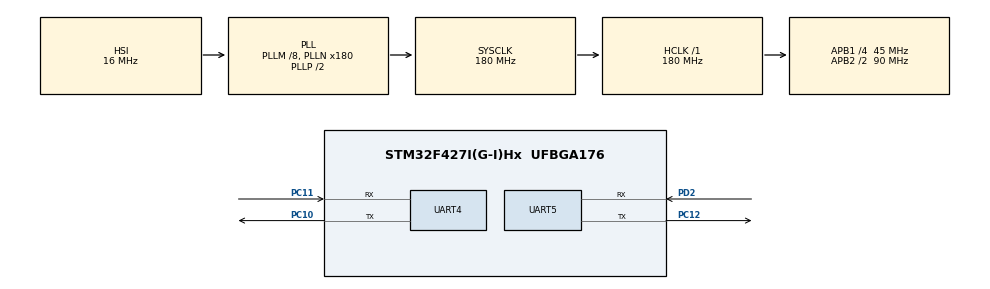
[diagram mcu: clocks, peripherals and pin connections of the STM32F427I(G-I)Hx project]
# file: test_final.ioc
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Mcu.Family=STM32F4
Mcu.Name=STM32F427I(G-I)Hx
Mcu.Package=UFBGA176
NVIC.PriorityGroup=NVIC_PRIORITYGROUP_4
NVIC.UART4_IRQn=true\:0\:0\:false\:false\:true\:true\:true\:true
NVIC.UART5_IRQn=true\:0\:0\:false\:false\:true\:true\:true\:true
PA13.Mode=Serial_Wire
PA13.Signal=SYS_JTMS-SWDIO
PA14.Mode=Serial_Wire
PA14.Signal=SYS_JTCK-SWCLK
PC10.Mode=Asynchronous
PC10.Signal=UART4_TX
PC11.Mode=Asynchronous
PC11.Signal=UART4_RX
PC12.Mode=Asynchronous
PC12.Signal=UART5_TX
PD2.Mode=Asynchronous
PD2.Signal=UART5_RX
PH0/OSC_IN.Mode=HSE-External-Oscillator
PH0/OSC_IN.Signal=RCC_OSC_IN
PH1/OSC_OUT.Mode=HSE-External-Oscillator
PH1/OSC_OUT.Signal=RCC_OSC_OUT
ProjectManager.HeapSize=0x200
ProjectManager.StackSize=0x400
ProjectManager.TargetToolchain=Makefile
RCC.48MHZClocksFreq_Value=90000000
RCC.AHBFreq_Value=180000000
RCC.APB1CLKDivider=RCC_HCLK_DIV4
RCC.APB1Freq_Value=45000000
RCC.APB1TimFreq_Value=90000000
RCC.APB2CLKDivider=RCC_HCLK_DIV2
RCC.APB2Freq_Value=90000000
RCC.APB2TimFreq_Value=180000000
RCC.CortexFreq_Value=180000000
RCC.HCLKFreq_Value=180000000
RCC.HSE_VALUE=25000000
RCC.HSI_VALUE=16000000
RCC.LSE_VALUE=32768
RCC.PLLM=8
RCC.PLLN=180
RCC.SYSCLKFreq_VALUE=180000000
RCC.SYSCLKSource=RCC_SYSCLKSOURCE_PLLCLK
RCC.VCOOutputFreq_Value=360000000
UART4.VirtualMode=Asynchronous
UART5.VirtualMode=Asynchronous
board=custom

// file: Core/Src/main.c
/* USER CODE BEGIN Header */
/**
  ******************************************************************************
  * @file           : main.c
  * @brief          : Main program body
  ******************************************************************************
  * @attention
  *
  * Copyright (c) 2024 STMicroelectronics.
  * All rights reserved.
  *
  * This software is licensed under terms that can be found in the LICENSE file
  * in the root directory of this software component.
  * If no LICENSE file comes with this software, it is provided AS-IS.
  *
  ******************************************************************************
  */
/* USER CODE END Header */
#include "main.h"
#include "usart.h"
#include "gpio.h"

/* USER CODE BEGIN Includes */
#include "wtr_mavlink.h"
/* USER CODE END Includes */

void SystemClock_Config(void);

/* USER CODE BEGIN 0 */
mavlink_speed_t SPEEDStructToBeSend, SPEEDStructReceived;

/* USER CODE END 0 */

int main(void)
{

  /* MCU Configuration--------------------------------------------------------*/

  /* Reset of all peripherals, Initializes the Flash interface and the Systick. */
  HAL_Init();

  /* Configure the system clock */
  SystemClock_Config();

  /* Initialize all configured peripherals */
  MX_GPIO_Init();
  MX_UART4_Init();
  MX_UART5_Init();
  /* USER CODE BEGIN 2 */
  wtrMavlink_BindChannel(&huart4, MAVLINK_COMM_0);
  wtrMavlink_BindChannel(&huart5, MAVLINK_COMM_1);

  SPEEDStructToBeSend.vx =0;
  SPEEDStructToBeSend.vy =0;
  SPEEDStructToBeSend.vz =0;

  /* USER CODE END 2 */

  /* Infinite loop */
  while (1)
  {

    /* USER CODE BEGIN 3 */

    //模拟变化量
    SPEEDStructToBeSend.vx +=1;
    SPEEDStructToBeSend.vy +=1;
    SPEEDStructToBeSend.vz +=1;

    // 通道0发送结构体
    mavlink_msg_speed_send_struct(MAVLINK_COMM_0, &SPEEDStructToBeSend);
    HAL_Delay(200);
  }
  /* USER CODE END 3 */
}

void SystemClock_Config(void)
{
  RCC_OscInitTypeDef RCC_OscInitStruct = {0};
  RCC_ClkInitTypeDef RCC_ClkInitStruct = {0};

  /** Configure the main internal regulator output voltage
  */
  __HAL_RCC_PWR_CLK_ENABLE();
  __HAL_PWR_VOLTAGESCALING_CONFIG(PWR_REGULATOR_VOLTAGE_SCALE1);

  /** Initializes the RCC Oscillators according to the specified parameters
  * in the RCC_OscInitTypeDef structure.
  */
  RCC_OscInitStruct.OscillatorType = RCC_OSCILLATORTYPE_HSI;
  RCC_OscInitStruct.HSIState = RCC_HSI_ON;
  RCC_OscInitStruct.HSICalibrationValue = RCC_HSICALIBRATION_DEFAULT;
  RCC_OscInitStruct.PLL.PLLState = RCC_PLL_ON;
  RCC_OscInitStruct.PLL.PLLSource = RCC_PLLSOURCE_HSI;
  RCC_OscInitStruct.PLL.PLLM = 8;
  RCC_OscInitStruct.PLL.PLLN = 180;
  RCC_OscInitStruct.PLL.PLLP = RCC_PLLP_DIV2;
  RCC_OscInitStruct.PLL.PLLQ = 4;
  if (HAL_RCC_OscConfig(&RCC_OscInitStruct) != HAL_OK)
  {
    Error_Handler();
  }

  /** Activate the Over-Drive mode
  */
  if (HAL_PWREx_EnableOverDrive() != HAL_OK)
  {
    Error_Handler();
  }

  /** Initializes the CPU, AHB and APB buses clocks
  */
  RCC_ClkInitStruct.ClockType = RCC_CLOCKTYPE_HCLK|RCC_CLOCKTYPE_SYSCLK
                              |RCC_CLOCKTYPE_PCLK1|RCC_CLOCKTYPE_PCLK2;
  RCC_ClkInitStruct.SYSCLKSource = RCC_SYSCLKSOURCE_PLLCLK;
  RCC_ClkInitStruct.AHBCLKDivider = RCC_SYSCLK_DIV1;
  RCC_ClkInitStruct.APB1CLKDivider = RCC_HCLK_DIV4;
  RCC_ClkInitStruct.APB2CLKDivider = RCC_HCLK_DIV2;

  if (HAL_RCC_ClockConfig(&RCC_ClkInitStruct, FLASH_LATENCY_5) != HAL_OK)
  {
    Error_Handler();
  }
}

/* USER CODE BEGIN 4 */

void HAL_UART_RxCpltCallback(UART_HandleTypeDef *huart)
{
    // 接收通道0的消息
    wtrMavlink_UARTRxCpltCallback(huart, MAVLINK_COMM_1);
}

void wtrMavlink_MsgRxCpltCallback(mavlink_message_t *msg)
{
    switch (msg->msgid) {
        case MAVLINK_MSG_ID_SPEED:
            // 将接收到的消息解码
            mavlink_msg_speed_decode(msg, &SPEEDStructReceived);
            break;
        default:
            break;
    }
}

/* USER CODE END 4 */

void Error_Handler(void)
{
  __disable_irq();
  while (1)
  {
  }
}
